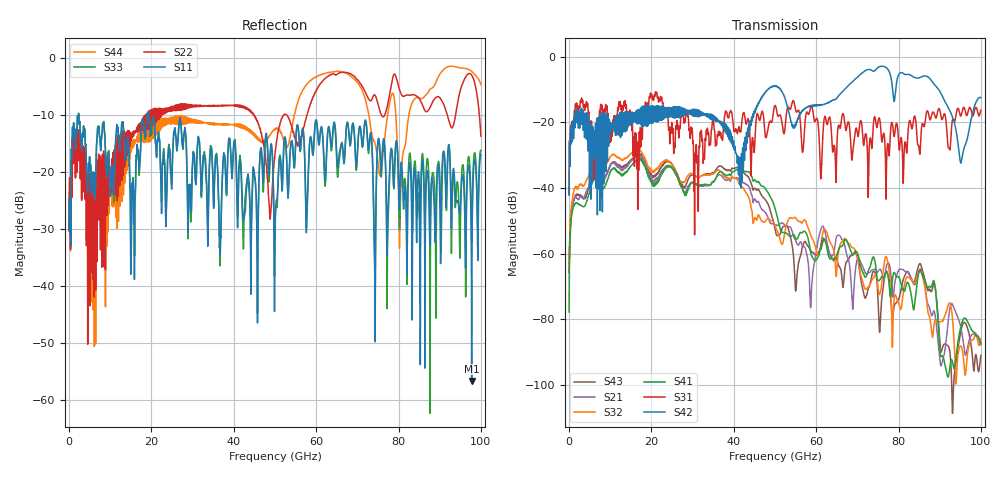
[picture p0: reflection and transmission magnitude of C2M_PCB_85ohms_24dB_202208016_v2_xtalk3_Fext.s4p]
! Info: Touchstone file created by Circ.  Input file=Intel_C2M_200G_9p5in_202208016_staggered.circ
# Hz S RI R 50
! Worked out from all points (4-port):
!   10000 points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, 10 MHz to 100 GHz, reference 50 ohm
!   strongest paths, dB at 10 MHz, 25.01 GHz, 50.01 GHz, 75.01 GHz, 100 GHz:
!     S42: -42.0, -18.3, -9.0, -3.3, -12.5
!     S31: -42.1, -21.4, -14.8, -19.8, -16.2
!     S41: -77.8, -34.0, -46.3, -68.2, -87.7
!     S32: -59.9, -32.9, -51.4, -70.2, -86.0
!     S21: -63.1, -34.1, -51.2, -65.4, -87.3
!     S43: -65.7, -32.9, -52.5, -73.5, -91.0
!   lowest |S11| = -56.6 dB at 97.76 GHz (marker M1), VSWR 1.00, Z = 50.1 - j0.0533 ohm
!   |S11| at or under -10 dB: start of sweep to 2.263 GHz; 2.352 GHz to 18.93 GHz (16.58 GHz wide, 156 % of centre); 19.34 GHz to end of sweep
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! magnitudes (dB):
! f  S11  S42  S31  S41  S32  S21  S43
! 10 MHz  -30.1  -42.0  -42.1  -77.8  -59.9  -63.1  -65.7
! 17.06 GHz  -19.1  -20.2  -22.9  -31.3  -28.4  -30.2  -29.8
! 41.56 GHz  -18.2  -30.7  -22.8  -35.0  -39.1  -38.1  -34.7
! 58.71 GHz  -13.8  -14.8  -15.3  -59.8  -54.5  -75.9  -59.2
! 80.35 GHz  -21.9  -4.9  -26.8  -67.9  -76.3  -64.7  -72.6
! 97.76 GHz  -56.6  -18.3  -17.0  -83.3  -86.4  -84.8  -89.2
! 100 GHz  -16.9  -12.5  -16.2  -87.7  -86.0  -87.3  -91.0
